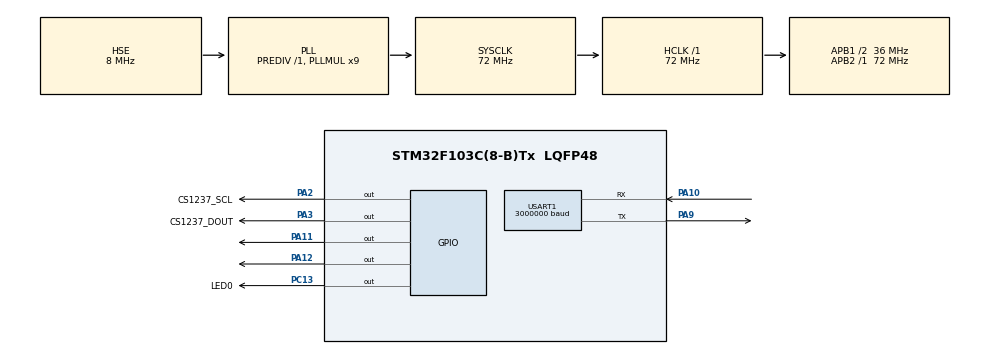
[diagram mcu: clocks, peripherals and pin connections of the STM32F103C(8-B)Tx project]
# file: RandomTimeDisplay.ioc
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Dma.Request0=USART1_RX
Dma.Request1=USART1_TX
Dma.USART1_RX.0.Direction=DMA_PERIPH_TO_MEMORY
Dma.USART1_RX.0.Instance=DMA1_Channel5
Dma.USART1_RX.0.MemDataAlignment=DMA_MDATAALIGN_BYTE
Dma.USART1_RX.0.MemInc=DMA_MINC_ENABLE
Dma.USART1_RX.0.Mode=DMA_NORMAL
Dma.USART1_RX.0.PeriphDataAlignment=DMA_PDATAALIGN_BYTE
Dma.USART1_RX.0.PeriphInc=DMA_PINC_DISABLE
Dma.USART1_RX.0.Priority=DMA_PRIORITY_MEDIUM
Dma.USART1_TX.1.Direction=DMA_MEMORY_TO_PERIPH
Dma.USART1_TX.1.Instance=DMA1_Channel4
Dma.USART1_TX.1.MemDataAlignment=DMA_MDATAALIGN_BYTE
Dma.USART1_TX.1.MemInc=DMA_MINC_ENABLE
Dma.USART1_TX.1.Mode=DMA_NORMAL
Dma.USART1_TX.1.PeriphDataAlignment=DMA_PDATAALIGN_BYTE
Dma.USART1_TX.1.PeriphInc=DMA_PINC_DISABLE
Dma.USART1_TX.1.Priority=DMA_PRIORITY_MEDIUM
FREERTOS.BinarySemaphores01=Usart1_Receive_BinSemaphore,Dynamic,NULL
FREERTOS.Events01=usart_event,Dynamic,NULL
FREERTOS.Tasks01=defaultTask,24,128,StartDefaultTask,Default,NULL,Dynamic,NULL,NULL;LED_TASK,8,128,led_task,Default,NULL,Dynamic,NULL,NULL;KEY_TASK,8,128,key_task,Default,NULL,Dynamic,NULL,NULL;THREAD_USART,46,256,thread_usart_fun,Default,NULL,Dynamic,NULL,NULL
FREERTOS.configTOTAL_HEAP_SIZE=10240
Mcu.Family=STM32F1
Mcu.Name=STM32F103C(8-B)Tx
Mcu.Package=LQFP48
NVIC.DMA1_Channel4_IRQn=true\:5\:0\:false\:false\:true\:true\:false\:true\:true
NVIC.DMA1_Channel5_IRQn=true\:5\:0\:false\:false\:true\:true\:false\:true\:true
NVIC.PriorityGroup=NVIC_PRIORITYGROUP_4
NVIC.TIM2_IRQn=true\:0\:0\:false\:false\:true\:false\:false\:true\:true
NVIC.TimeBase=TIM2_IRQn
NVIC.TimeBaseIP=TIM2
NVIC.USART1_IRQn=true\:5\:0\:false\:false\:true\:true\:true\:true\:true
PA10.Mode=Asynchronous
PA10.Signal=USART1_RX
PA11.GPIO_PuPd=GPIO_PULLDOWN
PA11.GPIO_Speed=GPIO_SPEED_FREQ_HIGH
PA11.PinState=GPIO_PIN_SET
PA11.Signal=GPIO_Output
PA12.GPIO_PuPd=GPIO_PULLUP
PA12.GPIO_Speed=GPIO_SPEED_FREQ_HIGH
PA12.PinState=GPIO_PIN_SET
PA12.Signal=GPIO_Output
PA13.Mode=Serial_Wire
PA13.Signal=SYS_JTMS-SWDIO
PA14.Mode=Serial_Wire
PA14.Signal=SYS_JTCK-SWCLK
PA2.GPIO_Label=CS1237_SCL
PA2.GPIO_PuPd=GPIO_PULLUP
PA2.GPIO_Speed=GPIO_SPEED_FREQ_HIGH
PA2.PinState=GPIO_PIN_SET
PA2.Signal=GPIO_Output
PA3.GPIO_Label=CS1237_DOUT
PA3.GPIO_PuPd=GPIO_PULLUP
PA3.GPIO_Speed=GPIO_SPEED_FREQ_HIGH
PA3.PinState=GPIO_PIN_SET
PA3.Signal=GPIO_Output
PA9.Mode=Asynchronous
PA9.Signal=USART1_TX
PC13-TAMPER-RTC.GPIO_Label=LED0
PC13-TAMPER-RTC.GPIO_PuPd=GPIO_PULLUP
PC13-TAMPER-RTC.PinState=GPIO_PIN_SET
PC13-TAMPER-RTC.Signal=GPIO_Output
PD0-OSC_IN.Mode=HSE-External-Oscillator
PD0-OSC_IN.Signal=RCC_OSC_IN
PD1-OSC_OUT.Mode=HSE-External-Oscillator
PD1-OSC_OUT.Signal=RCC_OSC_OUT
ProjectManager.HeapSize=0x200
ProjectManager.StackSize=0x400
ProjectManager.TargetToolchain=MDK-ARM V5.27
RCC.AHBFreq_Value=72000000
RCC.APB1CLKDivider=RCC_HCLK_DIV2
RCC.APB1Freq_Value=36000000
RCC.APB1TimFreq_Value=72000000
RCC.APB2Freq_Value=72000000
RCC.APB2TimFreq_Value=72000000
RCC.HCLKFreq_Value=72000000
RCC.PLLMUL=RCC_PLL_MUL9
RCC.PLLSourceVirtual=RCC_PLLSOURCE_HSE
RCC.SYSCLKFreq_VALUE=72000000
RCC.SYSCLKSource=RCC_SYSCLKSOURCE_PLLCLK
RCC.USBFreq_Value=72000000
USART1.BaudRate=3000000
USART1.VirtualMode=VM_ASYNC
VP_FREERTOS_VS_CMSIS_V2.Mode=CMSIS_V2
VP_SYS_VS_tim2.Mode=TIM2
board=custom

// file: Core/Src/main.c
/* USER CODE BEGIN Header */
/**
  ******************************************************************************
  * @file           : main.c
  * @brief          : Main program body
  ******************************************************************************
  * @attention
  *
  * <h2><center>&copy; Copyright (c) 2022 STMicroelectronics.
  * All rights reserved.</center></h2>
  *
  * This software component is licensed by ST under Ultimate Liberty license
  * SLA0044, the "License"; You may not use this file except in compliance with
  * the License. You may obtain a copy of the License at:
  *                             www.st.com/SLA0044
  *
  ******************************************************************************
  */
/* USER CODE END Header */
#include "main.h"
#include "cmsis_os.h"
#include "dma.h"
#include "usart.h"
#include "gpio.h"

/* USER CODE BEGIN Includes */
#include "delay.h"
/* USER CODE END Includes */

void SystemClock_Config(void);
void MX_FREERTOS_Init(void);

int main(void)
{

  /* MCU Configuration--------------------------------------------------------*/

  /* Reset of all peripherals, Initializes the Flash interface and the Systick. */
  HAL_Init();

  /* Configure the system clock */
  SystemClock_Config();

  /* Initialize all configured peripherals */
  MX_GPIO_Init();
  MX_DMA_Init();
  MX_USART1_UART_Init();
  /* USER CODE BEGIN 2 */
	delay_init();
	//HAL_UART_Receive_DMA(&huart1, (uint8_t*)USART_RX_BUF, USART_REC_LEN);     //设置DMA传输，将串口1的数据搬运到recvive_buff中，每次255个字节
  /* USER CODE END 2 */

  /* Init scheduler */
  osKernelInitialize();  /* Call init function for freertos objects (in freertos.c) */
  MX_FREERTOS_Init();

  /* Start scheduler */
  osKernelStart();

  /* We should never get here as control is now taken by the scheduler */
  /* Infinite loop */
  while (1)
  {

  }
}

void SystemClock_Config(void)
{
  RCC_OscInitTypeDef RCC_OscInitStruct = {0};
  RCC_ClkInitTypeDef RCC_ClkInitStruct = {0};

  /** Initializes the RCC Oscillators according to the specified parameters
  * in the RCC_OscInitTypeDef structure.
  */
  RCC_OscInitStruct.OscillatorType = RCC_OSCILLATORTYPE_HSE;
  RCC_OscInitStruct.HSEState = RCC_HSE_ON;
  RCC_OscInitStruct.HSEPredivValue = RCC_HSE_PREDIV_DIV1;
  RCC_OscInitStruct.HSIState = RCC_HSI_ON;
  RCC_OscInitStruct.PLL.PLLState = RCC_PLL_ON;
  RCC_OscInitStruct.PLL.PLLSource = RCC_PLLSOURCE_HSE;
  RCC_OscInitStruct.PLL.PLLMUL = RCC_PLL_MUL9;
  if (HAL_RCC_OscConfig(&RCC_OscInitStruct) != HAL_OK)
  {
    Error_Handler();
  }

  /** Initializes the CPU, AHB and APB buses clocks
  */
  RCC_ClkInitStruct.ClockType = RCC_CLOCKTYPE_HCLK|RCC_CLOCKTYPE_SYSCLK
                              |RCC_CLOCKTYPE_PCLK1|RCC_CLOCKTYPE_PCLK2;
  RCC_ClkInitStruct.SYSCLKSource = RCC_SYSCLKSOURCE_PLLCLK;
  RCC_ClkInitStruct.AHBCLKDivider = RCC_SYSCLK_DIV1;
  RCC_ClkInitStruct.APB1CLKDivider = RCC_HCLK_DIV2;
  RCC_ClkInitStruct.APB2CLKDivider = RCC_HCLK_DIV1;

  if (HAL_RCC_ClockConfig(&RCC_ClkInitStruct, FLASH_LATENCY_2) != HAL_OK)
  {
    Error_Handler();
  }
}

void HAL_TIM_PeriodElapsedCallback(TIM_HandleTypeDef *htim)
{
  if (htim->Instance == TIM2) {
    HAL_IncTick();
  }
}

void Error_Handler(void)
{
  __disable_irq();
  while (1)
  {
  }
}

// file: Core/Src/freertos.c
/* USER CODE BEGIN Header */
/**
 ******************************************************************************
 * File Name          : freertos.c
 * Description        : Code for freertos applications
 ******************************************************************************
 * @attention
 *
 * <h2><center>&copy; Copyright (c) 2022 STMicroelectronics.
 * All rights reserved.</center></h2>
 *
 * This software component is licensed by ST under Ultimate Liberty license
 * SLA0044, the "License"; You may not use this file except in compliance with
 * the License. You may obtain a copy of the License at:
 *                             www.st.com/SLA0044
 *
 ******************************************************************************
 */
/* USER CODE END Header */

#include "FreeRTOS.h"
#include "task.h"
#include "main.h"
#include "cmsis_os.h"

/* USER CODE BEGIN Includes */
#include "semphr.h"
#include "delay.h"
#include "led.h"
#include "key.h"
#include "usart.h"
#include "string.h"
#include <stdio.h>
#include "usart1.h"
#include "cs1237.h"
#include "kalman.h"
/* USER CODE END Includes */

/* Definitions for defaultTask */
osThreadId_t defaultTaskHandle;
const osThreadAttr_t defaultTask_attributes = {
  .name = "defaultTask",
  .stack_size = 128 * 4,
  .priority = (osPriority_t) osPriorityNormal,
};
/* Definitions for LED_TASK */
osThreadId_t LED_TASKHandle;
const osThreadAttr_t LED_TASK_attributes = {
  .name = "LED_TASK",
  .stack_size = 128 * 4,
  .priority = (osPriority_t) osPriorityLow,
};
/* Definitions for KEY_TASK */
osThreadId_t KEY_TASKHandle;
const osThreadAttr_t KEY_TASK_attributes = {
  .name = "KEY_TASK",
  .stack_size = 128 * 4,
  .priority = (osPriority_t) osPriorityLow,
};
/* Definitions for THREAD_USART */
osThreadId_t THREAD_USARTHandle;
const osThreadAttr_t THREAD_USART_attributes = {
  .name = "THREAD_USART",
  .stack_size = 256 * 4,
  .priority = (osPriority_t) osPriorityHigh6,
};
/* Definitions for Usart1_Receive_BinSemaphore */
osSemaphoreId_t Usart1_Receive_BinSemaphoreHandle;
const osSemaphoreAttr_t Usart1_Receive_BinSemaphore_attributes = {
  .name = "Usart1_Receive_BinSemaphore"
};
/* Definitions for usart_event */
osEventFlagsId_t usart_eventHandle;
const osEventFlagsAttr_t usart_event_attributes = {
  .name = "usart_event"
};

void StartDefaultTask(void *argument);
void led_task(void *argument);
void key_task(void *argument);
void thread_usart_fun(void *argument);

void MX_FREERTOS_Init(void); /* (MISRA C 2004 rule 8.1) */

void MX_FREERTOS_Init(void) {

  /* Create the semaphores(s) */
  /* creation of Usart1_Receive_BinSemaphore */
  Usart1_Receive_BinSemaphoreHandle = osSemaphoreNew(1, 1, &Usart1_Receive_BinSemaphore_attributes);

  /* USER CODE BEGIN RTOS_SEMAPHORES */
    /* add semaphores, ... */
    xSemaphoreTake(Usart1_Receive_BinSemaphoreHandle, portMAX_DELAY);
  /* USER CODE END RTOS_SEMAPHORES */

  /* Create the thread(s) */
  /* creation of defaultTask */
  defaultTaskHandle = osThreadNew(StartDefaultTask, NULL, &defaultTask_attributes);

  /* creation of LED_TASK */
  LED_TASKHandle = osThreadNew(led_task, NULL, &LED_TASK_attributes);

  /* creation of KEY_TASK */
  KEY_TASKHandle = osThreadNew(key_task, NULL, &KEY_TASK_attributes);

  /* creation of THREAD_USART */
  THREAD_USARTHandle = osThreadNew(thread_usart_fun, NULL, &THREAD_USART_attributes);

  /* Create the event(s) */
  /* creation of usart_event */
  usart_eventHandle = osEventFlagsNew(&usart_event_attributes);

}

void StartDefaultTask(void *argument)
{
  /* USER CODE BEGIN StartDefaultTask */
    /* Infinite loop */
    kalman_init(&g_kfp_st);
    // 这个任务进行初始化, 在完成后删除自身

    // 设置cs1237参数
    cs1237_init(&g_cs1237_device_st, DEV_FREQUENCY_640, DEV_PGA_1, DEV_CH_A);
    vTaskDelete(NULL);
  /* USER CODE END StartDefaultTask */
}

void led_task(void *argument)
{
  /* USER CODE BEGIN led_task */
    /* Infinite loop */
    for (;;)
    {
        // INFO_PRINT("led\r\n");
        LED0_TOGGLE;

        // 输出计算的数据, 前一个原始值,后一个卡尔曼滤波值
        printf("%d %f\r\n", g_cs1237_device_st.get_adc_data(&g_cs1237_device_st), kalman_filter(&g_kfp_st, (float)g_cs1237_device_st.adc_calculate_deal_data));

        delay_ms(1);
    }
  /* USER CODE END led_task */
}

void key_task(void *argument)
{
    for (;;)
    {
        osDelay(1);
    }
}

void thread_usart_fun(void *argument)
{
  for(;;)
  {
    osDelay(1);
  }
}
